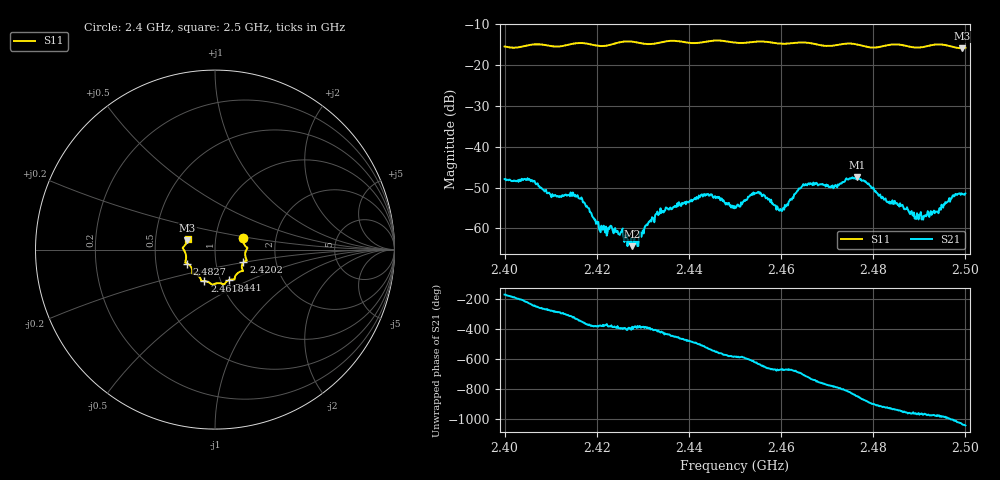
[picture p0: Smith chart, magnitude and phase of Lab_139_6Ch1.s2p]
# Hz S RI R 50
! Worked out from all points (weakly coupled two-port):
!   601 points, 2.4 GHz to 2.5 GHz, reference 50 ohm
!   highest |S21| = -47.45 dB at 2.4765 GHz (marker M1); lowest = -64.4 dB at 2.4277 GHz (marker M2)
!   lowest |S11| = -15.8 dB at 2.4993 GHz (marker M3), VSWR 1.39, Z = 36.5 + j3.83 ohm
!   |S11| at or under -10 dB: start of sweep to end of sweep
!   S12 and S22 are empty: the file has one direction only
!   S11 on the Smith chart (normalised r, x): 2.4 GHz: 1.36, +0.18; 2.4202 GHz: 1.36, -0.20; 2.441 GHz: 1.10, -0.39; 2.4618 GHz: 0.84, -0.30; 2.4827 GHz: 0.72, -0.12; 2.5 GHz: 0.73, +0.09
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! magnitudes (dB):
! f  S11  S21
! 2.4 GHz  -15.4  -47.9
! 2.4055 GHz  -15.0  -48.1
! 2.4103 GHz  -15.3  -51.6
! 2.4167 GHz  -14.5  -52.4
! 2.4202 GHz  -15.2  -58.8
! 2.4277 GHz  -14.2  -64.4
! 2.4333 GHz  -14.5  -56.8
! 2.441 GHz  -14.6  -53.0
! 2.4445 GHz  -14.1  -52.0
! 2.45 GHz  -14.5  -54.6
! 2.455 GHz  -14.2  -51.0
! 2.4598 GHz  -14.7  -55.2
! 2.4618 GHz  -14.7  -53.2
! 2.4643 GHz  -14.4  -50.1
! 2.4667 GHz  -14.6  -49.1
! 2.471 GHz  -15.2  -49.9
! 2.4765 GHz  -14.9  -47.5
! 2.4827 GHz  -15.2  -52.7
! 2.4833 GHz  -15.0  -53.8
! 2.491 GHz  -15.5  -56.9
! 2.4993 GHz  -15.8  -51.6
! 2.5 GHz  -15.7  -51.4
